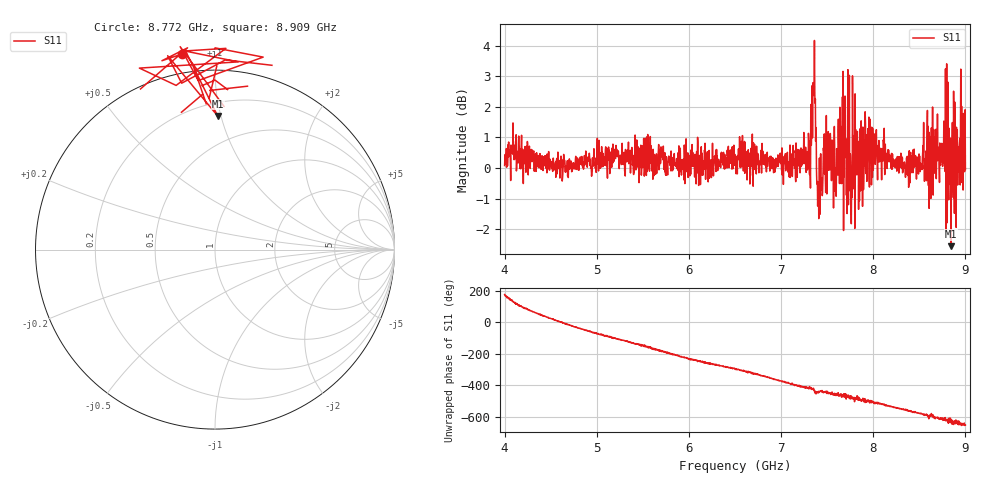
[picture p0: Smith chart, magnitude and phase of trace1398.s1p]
! Created with skrf 1.8.0 (http://scikit-rf.org).
# Hz S RI R 50.0
!freq ReS11 ImS11
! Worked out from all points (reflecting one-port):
!   1601 points, 4 GHz to 9 GHz, reference 50 ohm
!   lowest |S11| = -2.6 dB at 8.844 GHz (marker M1), VSWR 6.85, Z = 14.6 + j48.8 ohm
!   phase of S11 starts at 176 deg and turns -829 deg over the sweep
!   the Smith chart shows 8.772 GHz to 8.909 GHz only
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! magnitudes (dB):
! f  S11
! 4 GHz  0.1
! 4.1 GHz  0.5
! 4.625 GHz  -0.4
! 5.25 GHz  0.2
! 5.875 GHz  0.2
! 6.5 GHz  0.3
! 7.125 GHz  0.1
! 7.294 GHz  0.0
! 7.347 GHz  2.8
! 7.369 GHz  2.1
! 7.4 GHz  -0.8
! 7.412 GHz  -1.2
! 7.534 GHz  1.1
! 7.609 GHz  -0.1
! 7.647 GHz  1.1
! 7.75 GHz  0.5
! 7.769 GHz  -0.5
! 7.8 GHz  -2.0
! 7.859 GHz  1.3
! 8.009 GHz  0.9
! 8.375 GHz  -0.2
! 8.569 GHz  0.1
! 8.625 GHz  -1.0
! 8.766 GHz  1.5
! 8.788 GHz  -1.2
! 8.844 GHz  -2.6
! 8.959 GHz  2.0
! 9 GHz  0.0
